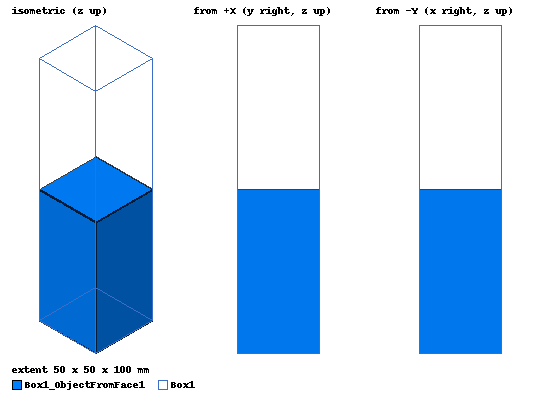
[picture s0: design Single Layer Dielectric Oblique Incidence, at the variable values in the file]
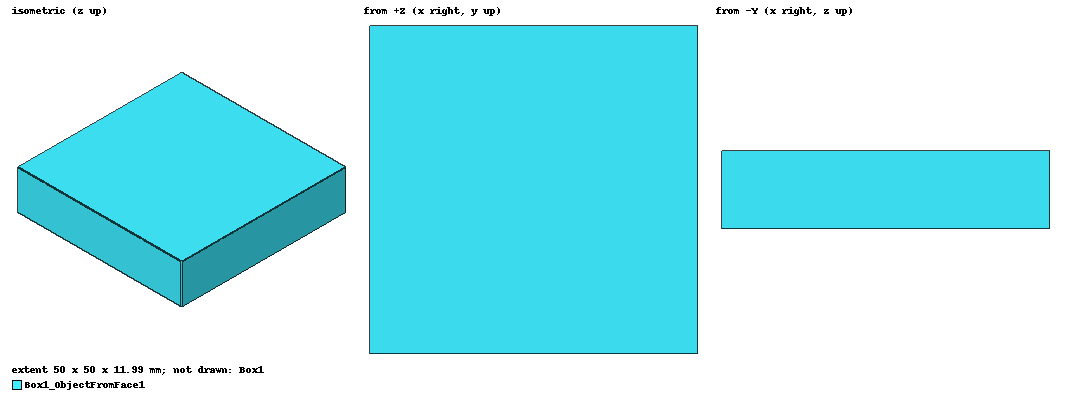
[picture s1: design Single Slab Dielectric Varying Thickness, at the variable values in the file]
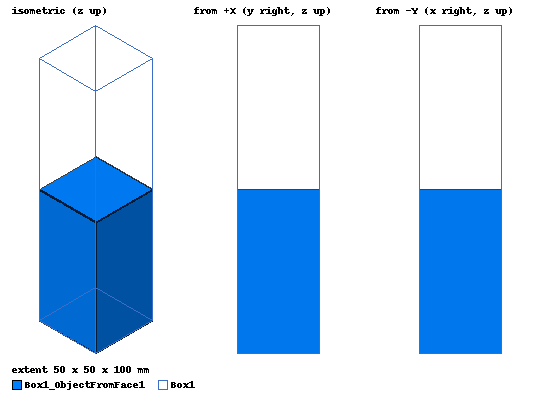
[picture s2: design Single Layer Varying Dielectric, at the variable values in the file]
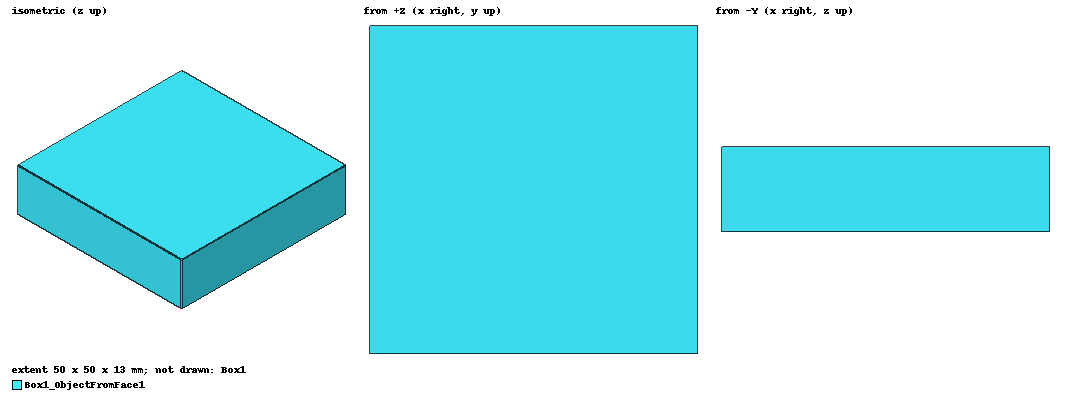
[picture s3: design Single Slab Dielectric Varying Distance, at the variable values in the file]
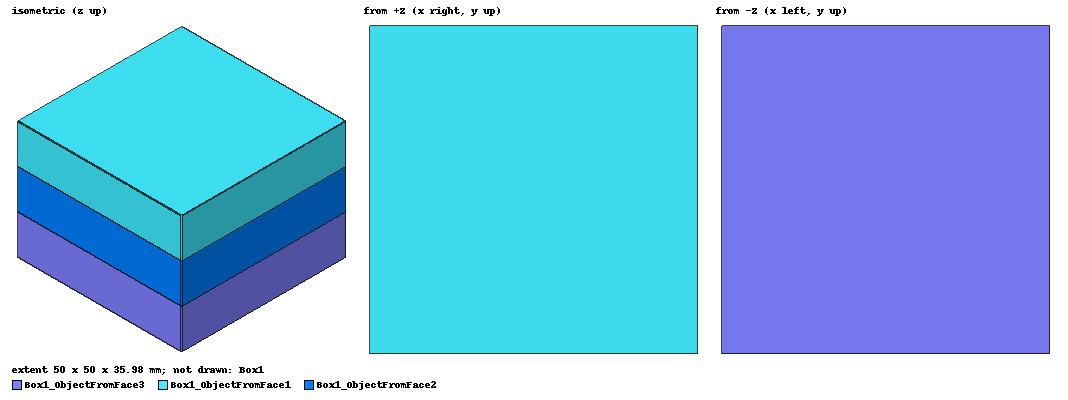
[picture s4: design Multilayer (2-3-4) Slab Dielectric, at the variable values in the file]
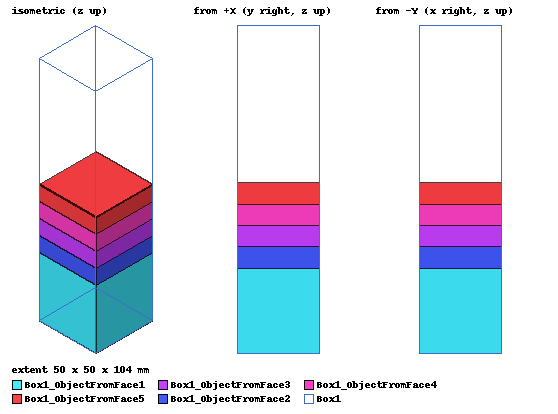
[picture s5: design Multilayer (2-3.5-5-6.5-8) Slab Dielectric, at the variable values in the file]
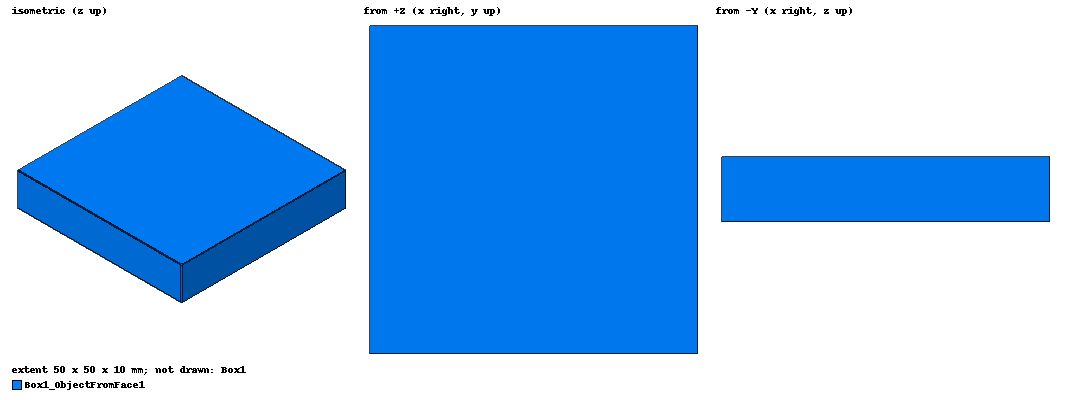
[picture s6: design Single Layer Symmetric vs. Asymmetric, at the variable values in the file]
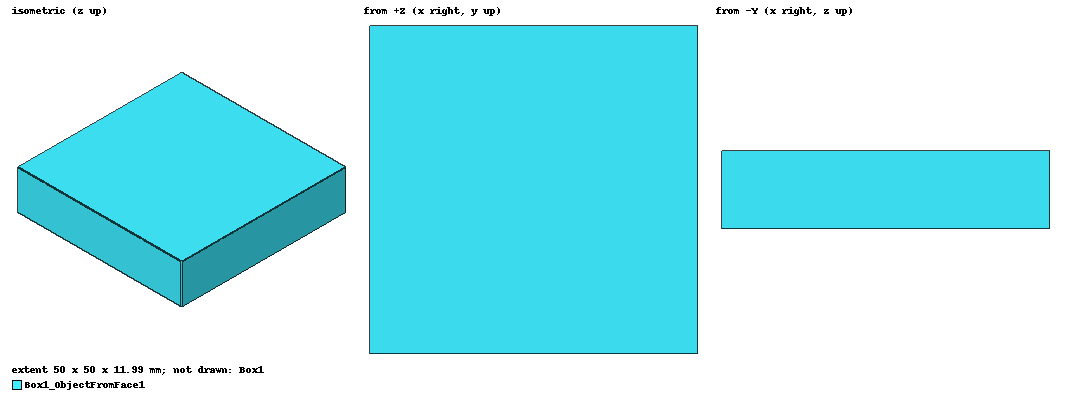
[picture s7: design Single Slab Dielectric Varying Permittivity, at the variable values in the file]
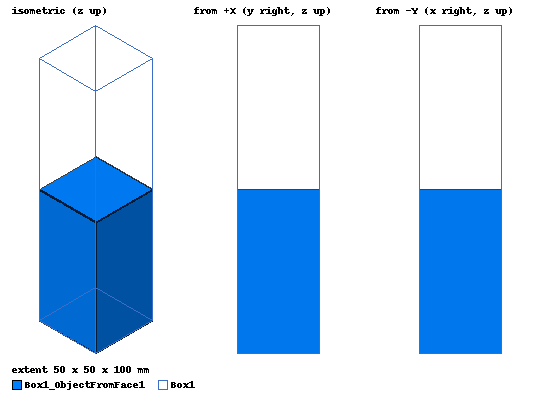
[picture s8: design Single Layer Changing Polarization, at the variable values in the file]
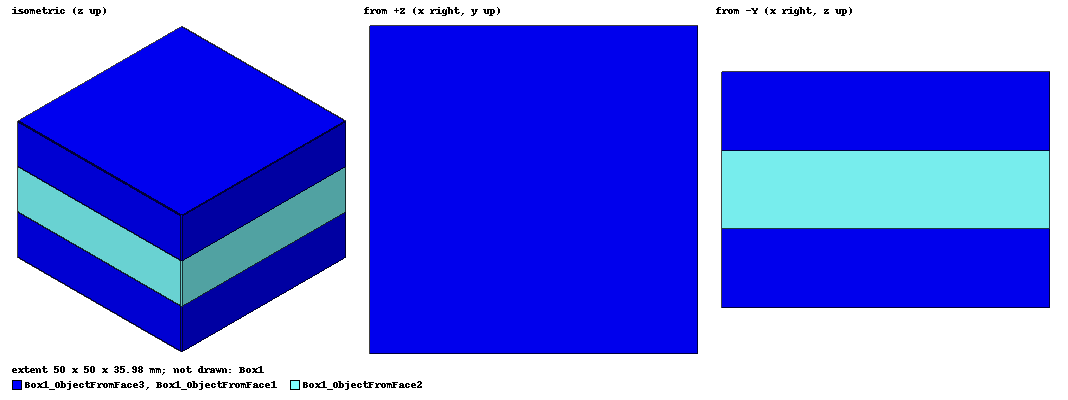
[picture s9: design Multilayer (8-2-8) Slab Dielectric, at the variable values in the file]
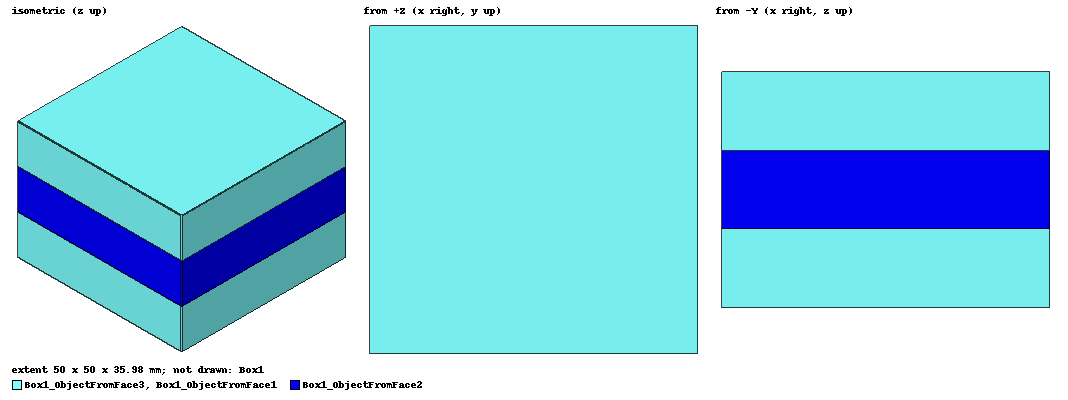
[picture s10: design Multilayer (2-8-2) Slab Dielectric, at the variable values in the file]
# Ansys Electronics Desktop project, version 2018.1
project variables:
  $varyingpermittivity = 2
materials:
  vacuum: permittivity=1
  Teflon (tm): permittivity=2.1 dielectric_loss_tangent=0.001
  varying_dielectric: permittivity=$varyingpermittivity
  dielectric2: permittivity=$varyingpermittivity+1
  dielectric3: permittivity=$varyingpermittivity+2
  dielectriclayer1: permittivity=$varyingpermittivity
  dielectriclayer2: permittivity=$varyingpermittivity+1.5
  dielectriclayer3: permittivity=$varyingpermittivity+3
  dielectriclayer4: permittivity=$varyingpermittivity+4.5
  dielectriclayer5: permittivity=$varyingpermittivity+6

design Base Case (HFSS, DrivenModal, model units mm)
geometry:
  Box1 [vacuum] = box(corner=(-25mm, -25mm, -100mm), size=(50mm, 50mm, 200mm))
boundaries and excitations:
  Master1: Master Faces=Box1.face(+x) CoordSysVector{Box1.vertex(6 of 8) -> Box1.vertex(5 of 8)} ReverseV
  Slave1: Slave Faces=Box1.face(-x) CoordSysVector{Box1.vertex(7 of 8) -> Box1.vertex(8 of 8)} master=Master1 UseScanAngles Phi=0deg Theta=0deg
  Master2: Master Faces=Box1.face(+y) CoordSysVector{Box1.vertex(8 of 8) -> Box1.vertex(5 of 8)}
  Slave2: Slave Faces=Box1.face(-y) CoordSysVector{Box1.vertex(7 of 8) -> Box1.vertex(6 of 8)} ReverseV master=Master2 UseScanAngles Phi=0deg Theta=0deg
  FloquetPort1: Floquet Port Faces=Box1.face(+z) NumModes=2 DeembedDist=0mm Modes{Mode1{CharImp=Zpi} Mode2{CharImp=Zpi}} UseScanAngles Phi=0deg Theta=0deg LatticeAVector{Box1.vertex(4 of 8) -> Box1.vertex(1 of 8)} LatticeBVector{Box1.vertex(4 of 8) -> Box1.vertex(3 of 8)} ModesCalculator{Frequency=1GHz PhiStart=0deg PhiStop=0deg PhiStep=0deg ThetaStart=0deg ThetaStop=0deg ThetaStep=0deg} ModesList{Mode{ModeNumber=1 IndexM=0 IndexN=0 KC2=0 PropagationState=Propagating Attenuation=0 PolarizationState=TE AffectsRefinement} Mode{ModeNumber=2 IndexM=0 IndexN=0 KC2=0 PropagationState=Propagating Attenuation=0 PolarizationState=TM}}
  FloquetPort2: Floquet Port Faces=Box1.face(-z) NumModes=2 DeembedDist=0mm Modes{Mode1{CharImp=Zpi} Mode2{CharImp=Zpi}} UseScanAngles Phi=0deg Theta=0deg LatticeAVector{Box1.vertex(7 of 8) -> Box1.vertex(6 of 8)} LatticeBVector{Box1.vertex(7 of 8) -> Box1.vertex(8 of 8)} ModesList{Mode{ModeNumber=1 IndexM=0 IndexN=0 KC2=0 PropagationState=Propagating Attenuation=0 PolarizationState=TE AffectsRefinement} Mode{ModeNumber=2 IndexM=0 IndexN=0 KC2=0 PropagationState=Propagating Attenuation=0 PolarizationState=TM}}
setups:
  Setup1: HfssDriven Frequency=2.5GHz MaxDeltaS=0.02 MaximumPasses=10 MinimumPasses=4 MinimumConvergedPasses=3 PercentRefinement=30 BasisOrder=1 PortAccuracy=2
    sweep Sweep: 1GHz to 5GHz step 0.01GHz; Type=Interpolating InterpTolerance=0.5 InterpMaxSolns=250 InterpUsePortImped=false PassivityErrorTolerance=0.0001
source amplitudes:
  FloquetPort1:1: 1W 0deg
  FloquetPort1:2, FloquetPort2:1, FloquetPort2:2: 0W 0deg
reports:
  S Parameter Plot - dB S11, S12, S22 for Base Case: dB(S(FloquetPort1:1,FloquetPort1:1)), dB(S(FloquetPort1:1,FloquetPort2:1)), dB(S(FloquetPort2:1,FloquetPort2:1)) vs Freq on Setup1 : Sweep
  S Parameter Plot - S11 and S22 Angle Comparison for Base Case: ang_rad(S(FloquetPort1:1,FloquetPort1:1)), ang_rad(S(FloquetPort2:1,FloquetPort2:1)) vs Freq on Setup1 : Sweep

design Single Layer Dielectric Oblique Incidence (HFSS, DrivenModal, model units mm)
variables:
  scanningtheta = 0deg
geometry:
  Box1 [vacuum] = box(corner=(-25mm, -25mm, -100mm), size=(50mm, 50mm, 200mm))
  Box1_ObjectFromFace1 [Teflon (tm)] = object_from(Box1.face(-z))
  Box1_ObjectFromFace1.sweep_along_vector((0mm, 0mm, 100mm))
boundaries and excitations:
  Master1: Master Faces=Box1.face(+x) CoordSysVector{Box1.vertex(6 of 8) -> Box1.vertex(5 of 8)} ReverseV
  Slave1: Slave Faces=Box1.face(-x) CoordSysVector{Box1.vertex(7 of 8) -> Box1.vertex(8 of 8)} master=Master1 UseScanAngles Phi=0deg Theta=scanningtheta
  Master2: Master Faces=Box1.face(+y) CoordSysVector{Box1.vertex(8 of 8) -> Box1.vertex(5 of 8)}
  Slave2: Slave Faces=Box1.face(-y) CoordSysVector{Box1.vertex(7 of 8) -> Box1.vertex(6 of 8)} ReverseV master=Master2 UseScanAngles Phi=0deg Theta=scanningtheta
  FloquetPort1: Floquet Port Faces=Box1.face(+z) NumModes=2 DeembedDist=0mm Modes{Mode1{CharImp=Zpi} Mode2{CharImp=Zpi}} UseScanAngles Phi=0deg Theta=scanningtheta LatticeAVector{Box1.vertex(4 of 8) -> Box1.vertex(1 of 8)} LatticeBVector{Box1.vertex(4 of 8) -> Box1.vertex(3 of 8)} ModesCalculator{Frequency=1GHz PhiStart=0deg PhiStop=0deg PhiStep=0deg ThetaStart=0deg ThetaStop=0deg ThetaStep=0deg} ModesList{Mode{ModeNumber=1 IndexM=0 IndexN=0 KC2=0 PropagationState=Propagating Attenuation=0 PolarizationState=TE AffectsRefinement} Mode{ModeNumber=2 IndexM=0 IndexN=0 KC2=0 PropagationState=Propagating Attenuation=0 PolarizationState=TM}}
  FloquetPort2: Floquet Port Faces=Box1.face(-z) NumModes=2 DeembedDist=0mm Modes{Mode1{CharImp=Zpi} Mode2{CharImp=Zpi}} UseScanAngles Phi=0deg Theta=scanningtheta LatticeAVector{Box1.vertex(7 of 8) -> Box1.vertex(6 of 8)} LatticeBVector{Box1.vertex(7 of 8) -> Box1.vertex(8 of 8)} ModesList{Mode{ModeNumber=1 IndexM=0 IndexN=0 KC2=0 PropagationState=Propagating Attenuation=0 PolarizationState=TE AffectsRefinement} Mode{ModeNumber=2 IndexM=0 IndexN=0 KC2=0 PropagationState=Propagating Attenuation=0 PolarizationState=TM}}
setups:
  Setup1: HfssDriven Frequency=2.5GHz MaxDeltaS=0.02 MaximumPasses=10 MinimumPasses=4 MinimumConvergedPasses=3 PercentRefinement=30 BasisOrder=1 PortAccuracy=2
    sweep Sweep: 1GHz to 5GHz step 0.01GHz; Type=Interpolating InterpTolerance=0.5 InterpMaxSolns=250 InterpUsePortImped=false PassivityErrorTolerance=0.0001
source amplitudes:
  FloquetPort1:1: 1W 0deg
  FloquetPort1:2, FloquetPort2:1, FloquetPort2:2: 0W 0deg
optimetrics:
  ParametricSetup1: Parametric Sim._Setups=[Setup1]
    sweep scanningtheta: LIN 0deg 90deg 0.5deg
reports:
  S Parameter Plot - dB S11, S12, S22 for Perpendicular: dB(S(FloquetPort1:1,FloquetPort1:1)), dB(S(FloquetPort1:1,FloquetPort2:1)), dB(S(FloquetPort2:1,FloquetPort2:1)) vs Freq on Setup1 : Sweep
  S Parameter Plot - Perpendicular Polarization Oblique Incidence: mag(S(FloquetPort1:1,FloquetPort2:1)), mag(S(FloquetPort2:1,FloquetPort2:1)) vs scanningtheta on Setup1 : Sweep
  S Parameter Plot - mag S11, S12, S22 for Perpendicular: mag(S(FloquetPort1:1,FloquetPort1:1)), mag(S(FloquetPort1:1,FloquetPort2:1)), mag(S(FloquetPort2:1,FloquetPort2:1)) vs Freq on Setup1 : Sweep

design Single Slab Dielectric Varying Thickness (HFSS, DrivenModal, model units mm)
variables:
  thickness = 11.992mm
  centerdistance = 100mm
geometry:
  Box1 [vacuum] = box(corner=(-25mm, -25mm, -100mm), size=(50mm, 50mm, 200mm))
  Box1_ObjectFromFace1 [varying_dielectric] = object_from(Box1.face(-z))
  Box1_ObjectFromFace1.sweep_along_vector((0mm, 0mm, thickness))
  Box1_ObjectFromFace1.move(0mm, 0mm, -thickness/2)
  Box1_ObjectFromFace1.move(0mm, 0mm, centerdistance)
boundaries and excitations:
  Master1: Master Faces=Box1.face(+x) CoordSysVector{Box1.vertex(6 of 8) -> Box1.vertex(5 of 8)} ReverseV
  Slave1: Slave Faces=Box1.face(-x) CoordSysVector{Box1.vertex(7 of 8) -> Box1.vertex(8 of 8)} master=Master1 UseScanAngles Phi=0deg Theta=0deg
  Master2: Master Faces=Box1.face(+y) CoordSysVector{Box1.vertex(8 of 8) -> Box1.vertex(5 of 8)}
  Slave2: Slave Faces=Box1.face(-y) CoordSysVector{Box1.vertex(7 of 8) -> Box1.vertex(6 of 8)} ReverseV master=Master2 UseScanAngles Phi=0deg Theta=0deg
  FloquetPort1: Floquet Port Faces=Box1.face(+z) NumModes=2 DeembedDist=0mm Modes{Mode1{CharImp=Zpi} Mode2{CharImp=Zpi}} UseScanAngles Phi=0deg Theta=0deg LatticeAVector{Box1.vertex(4 of 8) -> Box1.vertex(1 of 8)} LatticeBVector{Box1.vertex(4 of 8) -> Box1.vertex(3 of 8)} ModesCalculator{Frequency=1GHz PhiStart=0deg PhiStop=0deg PhiStep=0deg ThetaStart=0deg ThetaStop=0deg ThetaStep=0deg} ModesList{Mode{ModeNumber=1 IndexM=0 IndexN=0 KC2=0 PropagationState=Propagating Attenuation=0 PolarizationState=TE AffectsRefinement} Mode{ModeNumber=2 IndexM=0 IndexN=0 KC2=0 PropagationState=Propagating Attenuation=0 PolarizationState=TM}}
  FloquetPort2: Floquet Port Faces=Box1.face(-z) NumModes=2 DeembedDist=0mm Modes{Mode1{CharImp=Zpi} Mode2{CharImp=Zpi}} UseScanAngles Phi=0deg Theta=0deg LatticeAVector{Box1.vertex(7 of 8) -> Box1.vertex(6 of 8)} LatticeBVector{Box1.vertex(7 of 8) -> Box1.vertex(8 of 8)} ModesList{Mode{ModeNumber=1 IndexM=0 IndexN=0 KC2=0 PropagationState=Propagating Attenuation=0 PolarizationState=TE AffectsRefinement} Mode{ModeNumber=2 IndexM=0 IndexN=0 KC2=0 PropagationState=Propagating Attenuation=0 PolarizationState=TM}}
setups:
  Setup1: HfssDriven Frequency=2.5GHz MaxDeltaS=0.02 MaximumPasses=10 MinimumPasses=4 MinimumConvergedPasses=3 PercentRefinement=30 BasisOrder=1 PortAccuracy=2
    sweep Sweep: 1GHz to 5GHz step 0.01GHz; Type=Interpolating InterpTolerance=0.5 InterpMaxSolns=250 InterpUsePortImped=false PassivityErrorTolerance=0.0001
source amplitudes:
  FloquetPort1:1: 1W 0deg
  FloquetPort1:2, FloquetPort2:1, FloquetPort2:2: 0W 0deg
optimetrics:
  ParametricSetup1: Parametric Sim._Setups=[Setup1]
    sweep thickness: LIN 11.992mm 59.958mm 11.992mm
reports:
  S Parameter Plot - mag S11 and S12 Varying Thickness for Single Slab: mag(S(FloquetPort1:1,FloquetPort1:1)), mag(S(FloquetPort1:1,FloquetPort2:1)) vs Freq on Setup1 : Sweep [thickness=all]
  S Parameter Plot - dB S11 and S12 Varying Thickness for Single Slab: dB(S(FloquetPort1:1,FloquetPort1:1)) vs Freq on Setup1 : Sweep [thickness=all]; dB(S(FloquetPort1:1,FloquetPort2:1)) vs Freq on Setup1 : Sweep

design Single Layer Varying Dielectric (HFSS, DrivenModal, model units mm)
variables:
  scanningtheta = 0deg
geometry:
  Box1 [vacuum] = box(corner=(-25mm, -25mm, -100mm), size=(50mm, 50mm, 200mm))
  Box1_ObjectFromFace1 [varying_dielectric] = object_from(Box1.face(-z))
  Box1_ObjectFromFace1.sweep_along_vector((0mm, 0mm, 100mm))
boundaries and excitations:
  Master1: Master Faces=Box1.face(+x) CoordSysVector{Box1.vertex(6 of 8) -> Box1.vertex(5 of 8)} ReverseV
  Slave1: Slave Faces=Box1.face(-x) CoordSysVector{Box1.vertex(7 of 8) -> Box1.vertex(8 of 8)} master=Master1 UseScanAngles Phi=0deg Theta=scanningtheta
  Master2: Master Faces=Box1.face(+y) CoordSysVector{Box1.vertex(8 of 8) -> Box1.vertex(5 of 8)}
  Slave2: Slave Faces=Box1.face(-y) CoordSysVector{Box1.vertex(7 of 8) -> Box1.vertex(6 of 8)} ReverseV master=Master2 UseScanAngles Phi=0deg Theta=scanningtheta
  FloquetPort1: Floquet Port Faces=Box1.face(+z) NumModes=2 DeembedDist=0mm Modes{Mode1{CharImp=Zpi} Mode2{CharImp=Zpi}} UseScanAngles Phi=0deg Theta=scanningtheta LatticeAVector{Box1.vertex(4 of 8) -> Box1.vertex(1 of 8)} LatticeBVector{Box1.vertex(4 of 8) -> Box1.vertex(3 of 8)} ModesCalculator{Frequency=1GHz PhiStart=0deg PhiStop=0deg PhiStep=0deg ThetaStart=0deg ThetaStop=0deg ThetaStep=0deg} ModesList{Mode{ModeNumber=1 IndexM=0 IndexN=0 KC2=0 PropagationState=Propagating Attenuation=0 PolarizationState=TE AffectsRefinement} Mode{ModeNumber=2 IndexM=0 IndexN=0 KC2=0 PropagationState=Propagating Attenuation=0 PolarizationState=TM}}
  FloquetPort2: Floquet Port Faces=Box1.face(-z) NumModes=2 DeembedDist=0mm Modes{Mode1{CharImp=Zpi} Mode2{CharImp=Zpi}} UseScanAngles Phi=0deg Theta=scanningtheta LatticeAVector{Box1.vertex(7 of 8) -> Box1.vertex(6 of 8)} LatticeBVector{Box1.vertex(7 of 8) -> Box1.vertex(8 of 8)} ModesList{Mode{ModeNumber=1 IndexM=0 IndexN=0 KC2=0 PropagationState=Propagating Attenuation=0 PolarizationState=TE AffectsRefinement} Mode{ModeNumber=2 IndexM=0 IndexN=0 KC2=0 PropagationState=Propagating Attenuation=0 PolarizationState=TM}}
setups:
  Setup1: HfssDriven Frequency=2.5GHz MaxDeltaS=0.02 MaximumPasses=10 MinimumPasses=4 MinimumConvergedPasses=3 PercentRefinement=30 BasisOrder=1 PortAccuracy=2
    sweep Sweep: 1GHz to 5GHz step 0.01GHz; Type=Interpolating InterpTolerance=0.5 InterpMaxSolns=250 InterpUsePortImped=false PassivityErrorTolerance=0.0001
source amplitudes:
  FloquetPort1:1: 1W 0deg
  FloquetPort1:2, FloquetPort2:1, FloquetPort2:2: 0W 0deg
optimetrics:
  ParametricSetup1: Parametric Sim._Setups=[Setup1]
    sweep $varyingpermittivity: LIN 2 10 1
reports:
  S Parameter Plot - mag S11 and S12 for Varying Permittivity for 2 Regions: mag(S(FloquetPort1:1,FloquetPort1:1)), mag(S(FloquetPort1:1,FloquetPort2:1)) vs Freq on Setup1 : Sweep [$varyingpermittivity=all]
  S Parameter Plot - dB S11 and S21 for Varying Permittivity for 2 Regions: dB(S(FloquetPort1:1,FloquetPort1:1)), dB(S(FloquetPort2:1,FloquetPort1:1)) vs Freq on Setup1 : Sweep [$varyingpermittivity=all]

design Single Slab Dielectric Varying Distance (HFSS, DrivenModal, model units mm)
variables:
  thickness = 13mm
  centerdistance = 0mm
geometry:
  Box1 [vacuum] = box(corner=(-25mm, -25mm, -100mm), size=(50mm, 50mm, 200mm))
  Box1_ObjectFromFace1 [varying_dielectric] = object_from(Box1.face(-z))
  Box1_ObjectFromFace1.sweep_along_vector((0mm, 0mm, thickness))
  Box1_ObjectFromFace1.move(0mm, 0mm, 0)
  Box1_ObjectFromFace1.move(0mm, 0mm, centerdistance)
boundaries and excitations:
  Master1: Master Faces=Box1.face(+x) CoordSysVector{Box1.vertex(6 of 8) -> Box1.vertex(5 of 8)} ReverseV
  Slave1: Slave Faces=Box1.face(-x) CoordSysVector{Box1.vertex(7 of 8) -> Box1.vertex(8 of 8)} master=Master1 UseScanAngles Phi=0deg Theta=0deg
  Master2: Master Faces=Box1.face(+y) CoordSysVector{Box1.vertex(8 of 8) -> Box1.vertex(5 of 8)}
  Slave2: Slave Faces=Box1.face(-y) CoordSysVector{Box1.vertex(7 of 8) -> Box1.vertex(6 of 8)} ReverseV master=Master2 UseScanAngles Phi=0deg Theta=0deg
  FloquetPort1: Floquet Port Faces=Box1.face(+z) NumModes=2 DeembedDist=0mm Modes{Mode1{CharImp=Zpi} Mode2{CharImp=Zpi}} UseScanAngles Phi=0deg Theta=0deg LatticeAVector{Box1.vertex(4 of 8) -> Box1.vertex(1 of 8)} LatticeBVector{Box1.vertex(4 of 8) -> Box1.vertex(3 of 8)} ModesCalculator{Frequency=1GHz PhiStart=0deg PhiStop=0deg PhiStep=0deg ThetaStart=0deg ThetaStop=0deg ThetaStep=0deg} ModesList{Mode{ModeNumber=1 IndexM=0 IndexN=0 KC2=0 PropagationState=Propagating Attenuation=0 PolarizationState=TE AffectsRefinement} Mode{ModeNumber=2 IndexM=0 IndexN=0 KC2=0 PropagationState=Propagating Attenuation=0 PolarizationState=TM}}
  FloquetPort2: Floquet Port Faces=Box1.face(-z) NumModes=2 DeembedDist=0mm Modes{Mode1{CharImp=Zpi} Mode2{CharImp=Zpi}} UseScanAngles Phi=0deg Theta=0deg LatticeAVector{Box1.vertex(7 of 8) -> Box1.vertex(6 of 8)} LatticeBVector{Box1.vertex(7 of 8) -> Box1.vertex(8 of 8)} ModesList{Mode{ModeNumber=1 IndexM=0 IndexN=0 KC2=0 PropagationState=Propagating Attenuation=0 PolarizationState=TE AffectsRefinement} Mode{ModeNumber=2 IndexM=0 IndexN=0 KC2=0 PropagationState=Propagating Attenuation=0 PolarizationState=TM}}
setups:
  Setup1: HfssDriven Frequency=2.5GHz MaxDeltaS=0.02 MaximumPasses=10 MinimumPasses=4 MinimumConvergedPasses=3 PercentRefinement=30 BasisOrder=1 PortAccuracy=2
    sweep Sweep: 1GHz to 5GHz step 0.01GHz; Type=Interpolating InterpTolerance=0.5 InterpMaxSolns=250 InterpUsePortImped=false PassivityErrorTolerance=0.0001
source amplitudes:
  FloquetPort1:1: 1W 0deg
  FloquetPort1:2, FloquetPort2:1, FloquetPort2:2: 0W 0deg
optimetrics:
  ParametricSetup1: Parametric Sim._Setups=[Setup1]
    sweep centerdistance: LIN 0mm 119.916mm 11.992mm
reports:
  S Parameter Plot - mag S11 and S12 Varying Distance for Single Slab: mag(S(FloquetPort1:1,FloquetPort1:1)), mag(S(FloquetPort1:1,FloquetPort2:1)) vs Freq on Setup1 : Sweep [centerdistance=all]
  S Parameter Plot - dB S11 and S12 Varying Distance for Single Slab: dB(S(FloquetPort1:1,FloquetPort1:1)), dB(S(FloquetPort1:1,FloquetPort2:1)) vs Freq on Setup1 : Sweep [centerdistance=all]

design Multilayer (2-3-4) Slab Dielectric (HFSS, DrivenModal, model units mm)
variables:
  thickness = 11.992mm
  centerdistance = 100mm
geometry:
  Box1 [vacuum] = box(corner=(-25mm, -25mm, -100mm), size=(50mm, 50mm, 200mm))
  Box1_ObjectFromFace1 [varying_dielectric] = object_from(Box1.face(-z))
  Box1_ObjectFromFace1.sweep_along_vector((0mm, 0mm, thickness))
  Box1_ObjectFromFace1.move(0mm, 0mm, -thickness/2)
  Box1_ObjectFromFace1.move(0mm, 0mm, centerdistance)
  Box2 = box(corner=(-25mm, -25mm, -100mm), size=(50mm, 50mm, 200mm))
  Box1_ObjectFromFace2 [dielectric2] = object_from(Box2.face(-z))
  Box2.delete()
  Box1_ObjectFromFace2.sweep_along_vector((0mm, 0mm, thickness))
  Box1_ObjectFromFace2.move(0mm, 0mm, -thickness/2)
  Box1_ObjectFromFace2.move(0mm, 0mm, centerdistance)
  Box1_ObjectFromFace2.move(0mm, 0mm, -thickness)
  Box3 = box(corner=(-25mm, -25mm, -100mm), size=(50mm, 50mm, 200mm))
  Box1_ObjectFromFace3 [dielectric3] = object_from(Box3.face(-z))
  Box3.delete()
  Box1_ObjectFromFace3.sweep_along_vector((0mm, 0mm, thickness))
  Box1_ObjectFromFace3.move(0mm, 0mm, -thickness/2)
  Box1_ObjectFromFace3.move(0mm, 0mm, centerdistance)
  Box1_ObjectFromFace3.move(0mm, 0mm, -thickness)
  Box1_ObjectFromFace3.move(0mm, 0mm, -thickness)
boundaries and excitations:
  Master1: Master Faces=Box1.face(+x) CoordSysVector{Box1.vertex(6 of 8) -> Box1.vertex(5 of 8)} ReverseV
  Slave1: Slave Faces=Box1.face(-x) CoordSysVector{Box1.vertex(7 of 8) -> Box1.vertex(8 of 8)} master=Master1 UseScanAngles Phi=0deg Theta=0deg
  Master2: Master Faces=Box1.face(+y) CoordSysVector{Box1.vertex(8 of 8) -> Box1.vertex(5 of 8)}
  Slave2: Slave Faces=Box1.face(-y) CoordSysVector{Box1.vertex(7 of 8) -> Box1.vertex(6 of 8)} ReverseV master=Master2 UseScanAngles Phi=0deg Theta=0deg
  FloquetPort1: Floquet Port Faces=Box1.face(+z) NumModes=2 DeembedDist=0mm Modes{Mode1{CharImp=Zpi} Mode2{CharImp=Zpi}} UseScanAngles Phi=0deg Theta=0deg LatticeAVector{Box1.vertex(4 of 8) -> Box1.vertex(1 of 8)} LatticeBVector{Box1.vertex(4 of 8) -> Box1.vertex(3 of 8)} ModesCalculator{Frequency=1GHz PhiStart=0deg PhiStop=0deg PhiStep=0deg ThetaStart=0deg ThetaStop=0deg ThetaStep=0deg} ModesList{Mode{ModeNumber=1 IndexM=0 IndexN=0 KC2=0 PropagationState=Propagating Attenuation=0 PolarizationState=TE AffectsRefinement} Mode{ModeNumber=2 IndexM=0 IndexN=0 KC2=0 PropagationState=Propagating Attenuation=0 PolarizationState=TM}}
  FloquetPort2: Floquet Port Faces=Box1.face(-z) NumModes=2 DeembedDist=0mm Modes{Mode1{CharImp=Zpi} Mode2{CharImp=Zpi}} UseScanAngles Phi=0deg Theta=0deg LatticeAVector{Box1.vertex(7 of 8) -> Box1.vertex(6 of 8)} LatticeBVector{Box1.vertex(7 of 8) -> Box1.vertex(8 of 8)} ModesList{Mode{ModeNumber=1 IndexM=0 IndexN=0 KC2=0 PropagationState=Propagating Attenuation=0 PolarizationState=TE AffectsRefinement} Mode{ModeNumber=2 IndexM=0 IndexN=0 KC2=0 PropagationState=Propagating Attenuation=0 PolarizationState=TM}}
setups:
  Setup1: HfssDriven Frequency=2.5GHz MaxDeltaS=0.02 MaximumPasses=10 MinimumPasses=4 MinimumConvergedPasses=3 PercentRefinement=30 BasisOrder=1 PortAccuracy=2
    sweep Sweep: 1GHz to 5GHz step 0.01GHz; Type=Interpolating InterpTolerance=0.5 InterpMaxSolns=250 InterpUsePortImped=false PassivityErrorTolerance=0.0001
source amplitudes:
  FloquetPort1:1: 1W 0deg
  FloquetPort1:2, FloquetPort2:1, FloquetPort2:2: 0W 0deg
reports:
  S Parameter Plot - dB S11 and S12 Multilayer (2-3-4) Slab: dB(S(FloquetPort1:1,FloquetPort1:1)), dB(S(FloquetPort1:1,FloquetPort2:1)) vs Freq on Setup1 : Sweep
  S Parameter Plot - mag S11 and S12 Multilayer (2-3-4) Slab: mag(S(FloquetPort1:1,FloquetPort1:1)), mag(S(FloquetPort1:1,FloquetPort2:1)) vs Freq on Setup1 : Sweep

design Multilayer (2-3.5-5-6.5-8) Slab Dielectric (HFSS, DrivenModal, model units mm)
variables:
  thickness = 13mm
  centerdistance = 0mm
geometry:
  Box1 [vacuum] = box(corner=(-25mm, -25mm, -100mm), size=(50mm, 50mm, 200mm))
  Box1_ObjectFromFace1 [dielectriclayer5] = object_from(Box1.face(-z))
  Box1_ObjectFromFace1.sweep_along_vector((0mm, 0mm, 4*thickness))
  Box1_ObjectFromFace1.move(0mm, 0mm, 0)
  Box1_ObjectFromFace1.move(0mm, 0mm, centerdistance)
  Box2 = box(corner=(-25mm, -25mm, -100mm), size=(50mm, 50mm, 200mm))
  Box1_ObjectFromFace2 [dielectriclayer4] = object_from(Box2.face(-z))
  Box2.delete()
  Box1_ObjectFromFace2.sweep_along_vector((0mm, 0mm, thickness))
  Box1_ObjectFromFace2.move(0mm, 0mm, 0)
  Box1_ObjectFromFace2.move(0mm, 0mm, centerdistance)
  Box1_ObjectFromFace2.move(0mm, 0mm, 4*thickness)
  Box3 = box(corner=(-25mm, -25mm, -100mm), size=(50mm, 50mm, 200mm))
  Box1_ObjectFromFace3 [dielectriclayer3] = object_from(Box3.face(-z))
  Box3.delete()
  Box1_ObjectFromFace3.sweep_along_vector((0mm, 0mm, thickness))
  Box1_ObjectFromFace3.move(0mm, 0mm, 0)
  Box1_ObjectFromFace3.move(0mm, 0mm, centerdistance)
  Box1_ObjectFromFace3.move(0mm, 0mm, 4*thickness)
  Box1_ObjectFromFace3.move(0mm, 0mm, thickness)
  Box4 = box(corner=(-25mm, -25mm, -100mm), size=(50mm, 50mm, 200mm))
  Box1_ObjectFromFace4 [dielectriclayer2] = object_from(Box4.face(-z))
  Box4.delete()
  Box1_ObjectFromFace4.sweep_along_vector((0mm, 0mm, thickness))
  Box1_ObjectFromFace4.move(0mm, 0mm, 0)
  Box1_ObjectFromFace4.move(0mm, 0mm, centerdistance)
  Box1_ObjectFromFace4.move(0mm, 0mm, 4*thickness)
  Box1_ObjectFromFace4.move(0mm, 0mm, thickness)
  Box1_ObjectFromFace4.move(0mm, 0mm, thickness)
  Box5 = box(corner=(-25mm, -25mm, -100mm), size=(50mm, 50mm, 200mm))
  Box1_ObjectFromFace5 [dielectriclayer1] = object_from(Box5.face(-z))
  Box5.delete()
  Box1_ObjectFromFace5.sweep_along_vector((0mm, 0mm, thickness))
  Box1_ObjectFromFace5.move(0mm, 0mm, 0)
  Box1_ObjectFromFace5.move(0mm, 0mm, centerdistance)
  Box1_ObjectFromFace5.move(0mm, 0mm, 4*thickness)
  Box1_ObjectFromFace5.move(0mm, 0mm, thickness)
  Box1_ObjectFromFace5.move(0mm, 0mm, thickness)
  Box1_ObjectFromFace5.move(0mm, 0mm, thickness)
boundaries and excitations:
  Master1: Master Faces=Box1.face(+x) CoordSysVector{Box1.vertex(6 of 8) -> Box1.vertex(5 of 8)} ReverseV
  Slave1: Slave Faces=Box1.face(-x) CoordSysVector{Box1.vertex(7 of 8) -> Box1.vertex(8 of 8)} master=Master1 UseScanAngles Phi=0deg Theta=0deg
  Master2: Master Faces=Box1.face(+y) CoordSysVector{Box1.vertex(8 of 8) -> Box1.vertex(5 of 8)}
  Slave2: Slave Faces=Box1.face(-y) CoordSysVector{Box1.vertex(7 of 8) -> Box1.vertex(6 of 8)} ReverseV master=Master2 UseScanAngles Phi=0deg Theta=0deg
  FloquetPort1: Floquet Port Faces=Box1.face(+z) NumModes=2 DeembedDist=0mm Modes{Mode1{CharImp=Zpi} Mode2{CharImp=Zpi}} UseScanAngles Phi=0deg Theta=0deg LatticeAVector{Box1.vertex(4 of 8) -> Box1.vertex(1 of 8)} LatticeBVector{Box1.vertex(4 of 8) -> Box1.vertex(3 of 8)} ModesCalculator{Frequency=1GHz PhiStart=0deg PhiStop=0deg PhiStep=0deg ThetaStart=0deg ThetaStop=0deg ThetaStep=0deg} ModesList{Mode{ModeNumber=1 IndexM=0 IndexN=0 KC2=0 PropagationState=Propagating Attenuation=0 PolarizationState=TE AffectsRefinement} Mode{ModeNumber=2 IndexM=0 IndexN=0 KC2=0 PropagationState=Propagating Attenuation=0 PolarizationState=TM}}
  FloquetPort2: Floquet Port Faces=Box1.face(-z) NumModes=2 DeembedDist=0mm Modes{Mode1{CharImp=Zpi} Mode2{CharImp=Zpi}} UseScanAngles Phi=0deg Theta=0deg LatticeAVector{Box1.vertex(7 of 8) -> Box1.vertex(6 of 8)} LatticeBVector{Box1.vertex(7 of 8) -> Box1.vertex(8 of 8)} ModesList{Mode{ModeNumber=1 IndexM=0 IndexN=0 KC2=0 PropagationState=Propagating Attenuation=0 PolarizationState=TE AffectsRefinement} Mode{ModeNumber=2 IndexM=0 IndexN=0 KC2=0 PropagationState=Propagating Attenuation=0 PolarizationState=TM}}
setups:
  Setup1: HfssDriven Frequency=2.5GHz MaxDeltaS=0.02 MaximumPasses=10 MinimumPasses=4 MinimumConvergedPasses=3 PercentRefinement=30 BasisOrder=1 PortAccuracy=2
    sweep Sweep: 1GHz to 5GHz step 0.01GHz; Type=Interpolating InterpTolerance=0.5 InterpMaxSolns=250 InterpUsePortImped=false PassivityErrorTolerance=0.0001
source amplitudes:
  FloquetPort1:1: 1W 0deg
  FloquetPort1:2, FloquetPort2:1, FloquetPort2:2: 0W 0deg
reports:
  S Parameter Plot - mag S11 and S12 Multilayer (2-3.5-5-6.5-8) Slab: mag(S(FloquetPort1:1,FloquetPort1:1)), mag(S(FloquetPort1:1,FloquetPort2:1)) vs Freq on Setup1 : Sweep [centerdistance=all]
  S Parameter Plot - dB S11 and S12 Multilayer (2-3.5-5-6.5-8) Slab: dB(S(FloquetPort1:1,FloquetPort1:1)), dB(S(FloquetPort1:1,FloquetPort2:1)) vs Freq on Setup1 : Sweep [centerdistance=all]

design Single Layer Symmetric vs. Asymmetric (HFSS, DrivenModal, model units mm)
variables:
  scanningtheta = 0deg
  dielectriclength = 10mm
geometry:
  Box1 [vacuum] = box(corner=(-25mm, -25mm, -100mm), size=(50mm, 50mm, 200mm))
  Box1_ObjectFromFace1 [varying_dielectric] = object_from(Box1.face(-z))
  Box1_ObjectFromFace1.sweep_along_vector((0mm, 0mm, dielectriclength))
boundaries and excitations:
  Master1: Master Faces=Box1.face(+x) CoordSysVector{Box1.vertex(6 of 8) -> Box1.vertex(5 of 8)} ReverseV
  Slave1: Slave Faces=Box1.face(-x) CoordSysVector{Box1.vertex(7 of 8) -> Box1.vertex(8 of 8)} master=Master1 UseScanAngles Phi=0deg Theta=scanningtheta
  Master2: Master Faces=Box1.face(+y) CoordSysVector{Box1.vertex(8 of 8) -> Box1.vertex(5 of 8)}
  Slave2: Slave Faces=Box1.face(-y) CoordSysVector{Box1.vertex(7 of 8) -> Box1.vertex(6 of 8)} ReverseV master=Master2 UseScanAngles Phi=0deg Theta=scanningtheta
  FloquetPort1: Floquet Port Faces=Box1.face(+z) NumModes=2 DeembedDist=0mm Modes{Mode1{CharImp=Zpi} Mode2{CharImp=Zpi}} UseScanAngles Phi=0deg Theta=scanningtheta LatticeAVector{Box1.vertex(4 of 8) -> Box1.vertex(1 of 8)} LatticeBVector{Box1.vertex(4 of 8) -> Box1.vertex(3 of 8)} ModesCalculator{Frequency=1GHz PhiStart=0deg PhiStop=0deg PhiStep=0deg ThetaStart=0deg ThetaStop=0deg ThetaStep=0deg} ModesList{Mode{ModeNumber=1 IndexM=0 IndexN=0 KC2=0 PropagationState=Propagating Attenuation=0 PolarizationState=TE AffectsRefinement} Mode{ModeNumber=2 IndexM=0 IndexN=0 KC2=0 PropagationState=Propagating Attenuation=0 PolarizationState=TM}}
  FloquetPort2: Floquet Port Faces=Box1.face(-z) NumModes=2 DeembedDist=0mm Modes{Mode1{CharImp=Zpi} Mode2{CharImp=Zpi}} UseScanAngles Phi=0deg Theta=scanningtheta LatticeAVector{Box1.vertex(7 of 8) -> Box1.vertex(6 of 8)} LatticeBVector{Box1.vertex(7 of 8) -> Box1.vertex(8 of 8)} ModesList{Mode{ModeNumber=1 IndexM=0 IndexN=0 KC2=0 PropagationState=Propagating Attenuation=0 PolarizationState=TE AffectsRefinement} Mode{ModeNumber=2 IndexM=0 IndexN=0 KC2=0 PropagationState=Propagating Attenuation=0 PolarizationState=TM}}
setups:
  Setup1: HfssDriven Frequency=2.5GHz MaxDeltaS=0.02 MaximumPasses=10 MinimumPasses=4 MinimumConvergedPasses=3 PercentRefinement=30 BasisOrder=1 PortAccuracy=2
    sweep Sweep: 1GHz to 5GHz step 0.01GHz; Type=Interpolating InterpTolerance=0.5 InterpMaxSolns=250 InterpUsePortImped=false PassivityErrorTolerance=0.0001
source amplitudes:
  FloquetPort1:1: 1W 0deg
  FloquetPort1:2, FloquetPort2:1, FloquetPort2:2: 0W 0deg
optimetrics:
  ParametricSetup1: Parametric Sim._Setups=[Setup1]
    sweep dielectriclength: LIN 11.992mm 155.892mm 11.992mm
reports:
  S Parameter Plot - dB S11 and S12 for Symmetric vs Asymmetric Regions: dB(S(FloquetPort1:1,FloquetPort1:1)), dB(S(FloquetPort1:1,FloquetPort2:1)) vs Freq on Setup1 : Sweep [dielectriclength=all]
  S Parameter Plot - S12 Phase for Symmetric vs Asymmetric Regions: ang_deg(S(FloquetPort1:1,FloquetPort2:1)) vs Freq on Setup1 : Sweep [dielectriclength=11.992mm,23.984mm,35.976mm,47.968mm,59.96mm,71.952mm,83.944mm,95.936mm,107.928mm,119.92mm,131.912mm,143.904mm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]

design Single Slab Dielectric Varying Permittivity (HFSS, DrivenModal, model units mm)
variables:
  thickness = 11.992mm
  centerdistance = 100mm
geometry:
  Box1 [vacuum] = box(corner=(-25mm, -25mm, -100mm), size=(50mm, 50mm, 200mm))
  Box1_ObjectFromFace1 [varying_dielectric] = object_from(Box1.face(-z))
  Box1_ObjectFromFace1.sweep_along_vector((0mm, 0mm, thickness))
  Box1_ObjectFromFace1.move(0mm, 0mm, -thickness/2)
  Box1_ObjectFromFace1.move(0mm, 0mm, centerdistance)
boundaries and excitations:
  Master1: Master Faces=Box1.face(+x) CoordSysVector{Box1.vertex(6 of 8) -> Box1.vertex(5 of 8)} ReverseV
  Slave1: Slave Faces=Box1.face(-x) CoordSysVector{Box1.vertex(7 of 8) -> Box1.vertex(8 of 8)} master=Master1 UseScanAngles Phi=0deg Theta=0deg
  Master2: Master Faces=Box1.face(+y) CoordSysVector{Box1.vertex(8 of 8) -> Box1.vertex(5 of 8)}
  Slave2: Slave Faces=Box1.face(-y) CoordSysVector{Box1.vertex(7 of 8) -> Box1.vertex(6 of 8)} ReverseV master=Master2 UseScanAngles Phi=0deg Theta=0deg
  FloquetPort1: Floquet Port Faces=Box1.face(+z) NumModes=2 DeembedDist=0mm Modes{Mode1{CharImp=Zpi} Mode2{CharImp=Zpi}} UseScanAngles Phi=0deg Theta=0deg LatticeAVector{Box1.vertex(4 of 8) -> Box1.vertex(1 of 8)} LatticeBVector{Box1.vertex(4 of 8) -> Box1.vertex(3 of 8)} ModesCalculator{Frequency=1GHz PhiStart=0deg PhiStop=0deg PhiStep=0deg ThetaStart=0deg ThetaStop=0deg ThetaStep=0deg} ModesList{Mode{ModeNumber=1 IndexM=0 IndexN=0 KC2=0 PropagationState=Propagating Attenuation=0 PolarizationState=TE AffectsRefinement} Mode{ModeNumber=2 IndexM=0 IndexN=0 KC2=0 PropagationState=Propagating Attenuation=0 PolarizationState=TM}}
  FloquetPort2: Floquet Port Faces=Box1.face(-z) NumModes=2 DeembedDist=0mm Modes{Mode1{CharImp=Zpi} Mode2{CharImp=Zpi}} UseScanAngles Phi=0deg Theta=0deg LatticeAVector{Box1.vertex(7 of 8) -> Box1.vertex(6 of 8)} LatticeBVector{Box1.vertex(7 of 8) -> Box1.vertex(8 of 8)} ModesList{Mode{ModeNumber=1 IndexM=0 IndexN=0 KC2=0 PropagationState=Propagating Attenuation=0 PolarizationState=TE AffectsRefinement} Mode{ModeNumber=2 IndexM=0 IndexN=0 KC2=0 PropagationState=Propagating Attenuation=0 PolarizationState=TM}}
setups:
  Setup1: HfssDriven Frequency=2.5GHz MaxDeltaS=0.02 MaximumPasses=10 MinimumPasses=4 MinimumConvergedPasses=3 PercentRefinement=30 BasisOrder=1 PortAccuracy=2
    sweep Sweep: 1GHz to 5GHz step 0.01GHz; Type=Interpolating InterpTolerance=0.5 InterpMaxSolns=250 InterpUsePortImped=false PassivityErrorTolerance=0.0001
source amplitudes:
  FloquetPort1:1: 1W 0deg
  FloquetPort1:2, FloquetPort2:1, FloquetPort2:2: 0W 0deg
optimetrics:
  ParametricSetup1: Parametric Sim._Setups=[Setup1]
    sweep $varyingpermittivity: LIN 2 6 1
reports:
  S Parameter Plot - dB S11 and S21 Varying Permittivity for Single Slab: dB(S(FloquetPort1:1,FloquetPort1:1)), dB(S(FloquetPort2:1,FloquetPort1:1)) vs Freq on Setup1 : Sweep [$varyingpermittivity=all]
  S Parameter Plot - mag S11 and S21 Varying Permittivity for Single Slab: mag(S(FloquetPort1:1,FloquetPort1:1)), mag(S(FloquetPort2:1,FloquetPort1:1)) vs Freq on Setup1 : Sweep [$varyingpermittivity=all]

design Single Layer Changing Polarization (HFSS, DrivenModal, model units mm)
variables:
  scanningtheta = 0deg
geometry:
  Box1 [vacuum] = box(corner=(-25mm, -25mm, -100mm), size=(50mm, 50mm, 200mm))
  Box1_ObjectFromFace1 [varying_dielectric] = object_from(Box1.face(-z))
  Box1_ObjectFromFace1.sweep_along_vector((0mm, 0mm, 100mm))
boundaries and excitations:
  Master1: Master Faces=Box1.face(+x) CoordSysVector{Box1.vertex(6 of 8) -> Box1.vertex(5 of 8)} ReverseV
  Slave1: Slave Faces=Box1.face(-x) CoordSysVector{Box1.vertex(7 of 8) -> Box1.vertex(8 of 8)} master=Master1 UseScanAngles Phi=0deg Theta=scanningtheta
  Master2: Master Faces=Box1.face(+y) CoordSysVector{Box1.vertex(8 of 8) -> Box1.vertex(5 of 8)}
  Slave2: Slave Faces=Box1.face(-y) CoordSysVector{Box1.vertex(7 of 8) -> Box1.vertex(6 of 8)} ReverseV master=Master2 UseScanAngles Phi=0deg Theta=scanningtheta
  FloquetPort1: Floquet Port Faces=Box1.face(+z) NumModes=2 DeembedDist=0mm Modes{Mode1{CharImp=Zpi} Mode2{CharImp=Zpi}} UseScanAngles Phi=0deg Theta=scanningtheta LatticeAVector{Box1.vertex(4 of 8) -> Box1.vertex(1 of 8)} LatticeBVector{Box1.vertex(4 of 8) -> Box1.vertex(3 of 8)} ModesCalculator{Frequency=1GHz PhiStart=0deg PhiStop=0deg PhiStep=0deg ThetaStart=0deg ThetaStop=0deg ThetaStep=0deg} ModesList{Mode{ModeNumber=1 IndexM=0 IndexN=0 KC2=0 PropagationState=Propagating Attenuation=0 PolarizationState=TE AffectsRefinement} Mode{ModeNumber=2 IndexM=0 IndexN=0 KC2=0 PropagationState=Propagating Attenuation=0 PolarizationState=TM}}
  FloquetPort2: Floquet Port Faces=Box1.face(-z) NumModes=2 DeembedDist=0mm Modes{Mode1{CharImp=Zpi} Mode2{CharImp=Zpi}} UseScanAngles Phi=0deg Theta=scanningtheta LatticeAVector{Box1.vertex(7 of 8) -> Box1.vertex(6 of 8)} LatticeBVector{Box1.vertex(7 of 8) -> Box1.vertex(8 of 8)} ModesList{Mode{ModeNumber=1 IndexM=0 IndexN=0 KC2=0 PropagationState=Propagating Attenuation=0 PolarizationState=TE AffectsRefinement} Mode{ModeNumber=2 IndexM=0 IndexN=0 KC2=0 PropagationState=Propagating Attenuation=0 PolarizationState=TM}}
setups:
  Setup1: HfssDriven Frequency=2.5GHz MaxDeltaS=0.02 MaximumPasses=10 MinimumPasses=4 MinimumConvergedPasses=3 PercentRefinement=30 BasisOrder=1 PortAccuracy=2
    sweep Sweep: 1GHz to 5GHz step 0.01GHz; Type=Interpolating InterpTolerance=0.5 InterpMaxSolns=250 InterpUsePortImped=false PassivityErrorTolerance=0.0001
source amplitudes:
  FloquetPort1:1, FloquetPort2:1, FloquetPort2:2: 0W 0deg
  FloquetPort1:2: 1W 0deg
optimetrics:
  ParametricSetup1: Parametric Sim._Setups=[Setup1]
    sweep scanningtheta: LIN 0deg 90deg 0.5deg
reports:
  S Parameter Plot - mag S11, S12, S22 for Perpendicular: mag(S(FloquetPort1:1,FloquetPort1:1)), mag(S(FloquetPort1:1,FloquetPort2:1)), mag(S(FloquetPort2:1,FloquetPort2:1)) vs Freq on Setup1 : Sweep [$varyingpermittivity=all]
  S Parameter Plot - dB S11 and S21 for Perpendicular: dB(S(FloquetPort1:1,FloquetPort1:1)), dB(S(FloquetPort2:1,FloquetPort1:1)) vs Freq on Setup1 : Sweep [$varyingpermittivity=all]
  S Parameter Plot - dB S11 and S21 for Parallel: dB(S(FloquetPort1:2,FloquetPort1:2)), dB(S(FloquetPort2:2,FloquetPort1:2)) vs Freq on Setup1 : Sweep
  Port Zo - 2 Region: re(Zo(FloquetPort1:1)), re(Zo(FloquetPort2:1)) vs Freq on Setup1 : Sweep
  S Parameter Plot - mag S11 and S21 for Parallel: mag(S(FloquetPort1:2,FloquetPort1:2)), mag(S(FloquetPort2:2,FloquetPort1:2)) vs Freq on Setup1 : Sweep
  S Parameter Plot - S11 Different Polarization: ang_deg(S(FloquetPort1:1,FloquetPort1:1)), ang_deg(S(FloquetPort1:2,FloquetPort1:2)) vs Freq on Setup1 : Sweep
  S Parameter Plot - S21 Different Polarization: ang_deg(S(FloquetPort2:1,FloquetPort1:1)), ang_deg(S(FloquetPort2:2,FloquetPort1:2)) vs Freq on Setup1 : Sweep
  S Parameter Plot - Parallel Polarization Oblique Incidence: mag(S(FloquetPort1:2,FloquetPort1:2)), mag(S(FloquetPort2:2,FloquetPort1:2)) vs scanningtheta on Setup1 : Sweep [Freq=2.5GHz]

design Multilayer (8-2-8) Slab Dielectric (HFSS, DrivenModal, model units mm)
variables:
  thickness = 11.992mm
  centerdistance = 100mm
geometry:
  Box1 [vacuum] = box(corner=(-25mm, -25mm, -100mm), size=(50mm, 50mm, 200mm))
  Box1_ObjectFromFace1 [dielectriclayer5] = object_from(Box1.face(-z))
  Box1_ObjectFromFace1.sweep_along_vector((0mm, 0mm, thickness))
  Box1_ObjectFromFace1.move(0mm, 0mm, -thickness/2)
  Box1_ObjectFromFace1.move(0mm, 0mm, centerdistance)
  Box2 = box(corner=(-25mm, -25mm, -100mm), size=(50mm, 50mm, 200mm))
  Box1_ObjectFromFace2 [dielectriclayer1] = object_from(Box2.face(-z))
  Box2.delete()
  Box1_ObjectFromFace2.sweep_along_vector((0mm, 0mm, thickness))
  Box1_ObjectFromFace2.move(0mm, 0mm, -thickness/2)
  Box1_ObjectFromFace2.move(0mm, 0mm, centerdistance)
  Box1_ObjectFromFace2.move(0mm, 0mm, -thickness)
  Box3 = box(corner=(-25mm, -25mm, -100mm), size=(50mm, 50mm, 200mm))
  Box1_ObjectFromFace3 [dielectriclayer5] = object_from(Box3.face(-z))
  Box3.delete()
  Box1_ObjectFromFace3.sweep_along_vector((0mm, 0mm, thickness))
  Box1_ObjectFromFace3.move(0mm, 0mm, -thickness/2)
  Box1_ObjectFromFace3.move(0mm, 0mm, centerdistance)
  Box1_ObjectFromFace3.move(0mm, 0mm, -thickness)
  Box1_ObjectFromFace3.move(0mm, 0mm, -thickness)
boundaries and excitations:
  Master1: Master Faces=Box1.face(+x) CoordSysVector{Box1.vertex(6 of 8) -> Box1.vertex(5 of 8)} ReverseV
  Slave1: Slave Faces=Box1.face(-x) CoordSysVector{Box1.vertex(7 of 8) -> Box1.vertex(8 of 8)} master=Master1 UseScanAngles Phi=0deg Theta=0deg
  Master2: Master Faces=Box1.face(+y) CoordSysVector{Box1.vertex(8 of 8) -> Box1.vertex(5 of 8)}
  Slave2: Slave Faces=Box1.face(-y) CoordSysVector{Box1.vertex(7 of 8) -> Box1.vertex(6 of 8)} ReverseV master=Master2 UseScanAngles Phi=0deg Theta=0deg
  FloquetPort1: Floquet Port Faces=Box1.face(+z) NumModes=2 DeembedDist=0mm Modes{Mode1{CharImp=Zpi} Mode2{CharImp=Zpi}} UseScanAngles Phi=0deg Theta=0deg LatticeAVector{Box1.vertex(4 of 8) -> Box1.vertex(1 of 8)} LatticeBVector{Box1.vertex(4 of 8) -> Box1.vertex(3 of 8)} ModesCalculator{Frequency=1GHz PhiStart=0deg PhiStop=0deg PhiStep=0deg ThetaStart=0deg ThetaStop=0deg ThetaStep=0deg} ModesList{Mode{ModeNumber=1 IndexM=0 IndexN=0 KC2=0 PropagationState=Propagating Attenuation=0 PolarizationState=TE AffectsRefinement} Mode{ModeNumber=2 IndexM=0 IndexN=0 KC2=0 PropagationState=Propagating Attenuation=0 PolarizationState=TM}}
  FloquetPort2: Floquet Port Faces=Box1.face(-z) NumModes=2 DeembedDist=0mm Modes{Mode1{CharImp=Zpi} Mode2{CharImp=Zpi}} UseScanAngles Phi=0deg Theta=0deg LatticeAVector{Box1.vertex(7 of 8) -> Box1.vertex(6 of 8)} LatticeBVector{Box1.vertex(7 of 8) -> Box1.vertex(8 of 8)} ModesList{Mode{ModeNumber=1 IndexM=0 IndexN=0 KC2=0 PropagationState=Propagating Attenuation=0 PolarizationState=TE AffectsRefinement} Mode{ModeNumber=2 IndexM=0 IndexN=0 KC2=0 PropagationState=Propagating Attenuation=0 PolarizationState=TM}}
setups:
  Setup1: HfssDriven Frequency=2.5GHz MaxDeltaS=0.02 MaximumPasses=10 MinimumPasses=4 MinimumConvergedPasses=3 PercentRefinement=30 BasisOrder=1 PortAccuracy=2
    sweep Sweep: 1GHz to 5GHz step 0.01GHz; Type=Interpolating InterpTolerance=0.5 InterpMaxSolns=250 InterpUsePortImped=false PassivityErrorTolerance=0.0001
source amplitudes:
  FloquetPort1:1: 1W 0deg
  FloquetPort1:2, FloquetPort2:1, FloquetPort2:2: 0W 0deg
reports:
  S Parameter Plot - dB S11 and S12 Multilayer (8-2-8) Slab: dB(S(FloquetPort1:1,FloquetPort1:1)), dB(S(FloquetPort1:1,FloquetPort2:1)) vs Freq on Setup1 : Sweep
  S Parameter Plot - mag S11 and S12 Multilayer (8-2-8) Slab: mag(S(FloquetPort1:1,FloquetPort1:1)), mag(S(FloquetPort1:1,FloquetPort2:1)) vs Freq on Setup1 : Sweep

design Multilayer (2-8-2) Slab Dielectric (HFSS, DrivenModal, model units mm)
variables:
  thickness = 11.992mm
  centerdistance = 100mm
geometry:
  Box1 [vacuum] = box(corner=(-25mm, -25mm, -100mm), size=(50mm, 50mm, 200mm))
  Box1_ObjectFromFace1 [dielectriclayer1] = object_from(Box1.face(-z))
  Box1_ObjectFromFace1.sweep_along_vector((0mm, 0mm, thickness))
  Box1_ObjectFromFace1.move(0mm, 0mm, -thickness/2)
  Box1_ObjectFromFace1.move(0mm, 0mm, centerdistance)
  Box2 = box(corner=(-25mm, -25mm, -100mm), size=(50mm, 50mm, 200mm))
  Box1_ObjectFromFace2 [dielectriclayer5] = object_from(Box2.face(-z))
  Box2.delete()
  Box1_ObjectFromFace2.sweep_along_vector((0mm, 0mm, thickness))
  Box1_ObjectFromFace2.move(0mm, 0mm, -thickness/2)
  Box1_ObjectFromFace2.move(0mm, 0mm, centerdistance)
  Box1_ObjectFromFace2.move(0mm, 0mm, -thickness)
  Box3 = box(corner=(-25mm, -25mm, -100mm), size=(50mm, 50mm, 200mm))
  Box1_ObjectFromFace3 [dielectriclayer1] = object_from(Box3.face(-z))
  Box3.delete()
  Box1_ObjectFromFace3.sweep_along_vector((0mm, 0mm, thickness))
  Box1_ObjectFromFace3.move(0mm, 0mm, -thickness/2)
  Box1_ObjectFromFace3.move(0mm, 0mm, centerdistance)
  Box1_ObjectFromFace3.move(0mm, 0mm, -thickness)
  Box1_ObjectFromFace3.move(0mm, 0mm, -thickness)
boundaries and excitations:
  Master1: Master Faces=Box1.face(+x) CoordSysVector{Box1.vertex(6 of 8) -> Box1.vertex(5 of 8)} ReverseV
  Slave1: Slave Faces=Box1.face(-x) CoordSysVector{Box1.vertex(7 of 8) -> Box1.vertex(8 of 8)} master=Master1 UseScanAngles Phi=0deg Theta=0deg
  Master2: Master Faces=Box1.face(+y) CoordSysVector{Box1.vertex(8 of 8) -> Box1.vertex(5 of 8)}
  Slave2: Slave Faces=Box1.face(-y) CoordSysVector{Box1.vertex(7 of 8) -> Box1.vertex(6 of 8)} ReverseV master=Master2 UseScanAngles Phi=0deg Theta=0deg
  FloquetPort1: Floquet Port Faces=Box1.face(+z) NumModes=2 DeembedDist=0mm Modes{Mode1{CharImp=Zpi} Mode2{CharImp=Zpi}} UseScanAngles Phi=0deg Theta=0deg LatticeAVector{Box1.vertex(4 of 8) -> Box1.vertex(1 of 8)} LatticeBVector{Box1.vertex(4 of 8) -> Box1.vertex(3 of 8)} ModesCalculator{Frequency=1GHz PhiStart=0deg PhiStop=0deg PhiStep=0deg ThetaStart=0deg ThetaStop=0deg ThetaStep=0deg} ModesList{Mode{ModeNumber=1 IndexM=0 IndexN=0 KC2=0 PropagationState=Propagating Attenuation=0 PolarizationState=TE AffectsRefinement} Mode{ModeNumber=2 IndexM=0 IndexN=0 KC2=0 PropagationState=Propagating Attenuation=0 PolarizationState=TM}}
  FloquetPort2: Floquet Port Faces=Box1.face(-z) NumModes=2 DeembedDist=0mm Modes{Mode1{CharImp=Zpi} Mode2{CharImp=Zpi}} UseScanAngles Phi=0deg Theta=0deg LatticeAVector{Box1.vertex(7 of 8) -> Box1.vertex(6 of 8)} LatticeBVector{Box1.vertex(7 of 8) -> Box1.vertex(8 of 8)} ModesList{Mode{ModeNumber=1 IndexM=0 IndexN=0 KC2=0 PropagationState=Propagating Attenuation=0 PolarizationState=TE AffectsRefinement} Mode{ModeNumber=2 IndexM=0 IndexN=0 KC2=0 PropagationState=Propagating Attenuation=0 PolarizationState=TM}}
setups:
  Setup1: HfssDriven Frequency=2.5GHz MaxDeltaS=0.02 MaximumPasses=10 MinimumPasses=4 MinimumConvergedPasses=3 PercentRefinement=30 BasisOrder=1 PortAccuracy=2
    sweep Sweep: 1GHz to 5GHz step 0.01GHz; Type=Interpolating InterpTolerance=0.5 InterpMaxSolns=250 InterpUsePortImped=false PassivityErrorTolerance=0.0001
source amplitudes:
  FloquetPort1:1: 1W 0deg
  FloquetPort1:2, FloquetPort2:1, FloquetPort2:2: 0W 0deg
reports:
  S Parameter Plot - dB S11 and S12 Multilayer (2-8-2) Slab: dB(S(FloquetPort1:1,FloquetPort1:1)), dB(S(FloquetPort1:1,FloquetPort2:1)) vs Freq on Setup1 : Sweep
  S Parameter Plot - mag S11 and S12 Multilayer (2-8-2) Slab: mag(S(FloquetPort1:1,FloquetPort1:1)), mag(S(FloquetPort1:1,FloquetPort2:1)) vs Freq on Setup1 : Sweep
